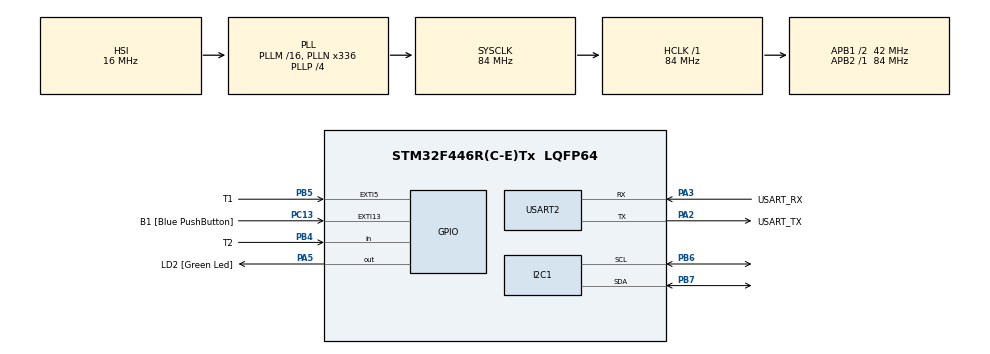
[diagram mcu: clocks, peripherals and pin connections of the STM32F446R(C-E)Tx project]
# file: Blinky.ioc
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Mcu.Family=STM32F4
Mcu.Name=STM32F446R(C-E)Tx
Mcu.Package=LQFP64
NVIC.EXTI9_5_IRQn=true\:0\:0\:false\:false\:true\:true\:true
NVIC.PriorityGroup=NVIC_PRIORITYGROUP_0
PA13.GPIO_Label=TMS
PA13.Mode=Serial_Wire
PA13.Signal=SYS_JTMS-SWDIO
PA14.GPIO_Label=TCK
PA14.Mode=Serial_Wire
PA14.Signal=SYS_JTCK-SWCLK
PA2.GPIO_Label=USART_TX
PA2.Mode=Asynchronous
PA2.Signal=USART2_TX
PA3.GPIO_Label=USART_RX
PA3.Mode=Asynchronous
PA3.Signal=USART2_RX
PA5.GPIO_Label=LD2 [Green Led]
PA5.GPIO_PuPd=GPIO_NOPULL
PA5.Signal=GPIO_Output
PB3.GPIO_Label=SWO
PB3.Signal=SYS_JTDO-SWO
PB4.GPIO_Label=T2
PB4.GPIO_PuPd=GPIO_PULLUP
PB4.Signal=GPIO_Input
PB5.GPIO_Label=T1
PB5.GPIO_ModeDefaultEXTI=GPIO_MODE_IT_FALLING
PB5.GPIO_PuPd=GPIO_PULLUP
PB5.Signal=GPXTI5
PB6.Mode=I2C
PB6.Signal=I2C1_SCL
PB7.Mode=I2C
PB7.Signal=I2C1_SDA
PC13.GPIO_Label=B1 [Blue PushButton]
PC13.GPIO_ModeDefaultEXTI=GPIO_MODE_IT_FALLING
PC13.Signal=GPXTI13
PC14-OSC32_IN.Mode=LSE-External-Oscillator
PC14-OSC32_IN.Signal=RCC_OSC32_IN
PC15-OSC32_OUT.Mode=LSE-External-Oscillator
PC15-OSC32_OUT.Signal=RCC_OSC32_OUT
PH0-OSC_IN.Mode=HSE-External-Oscillator
PH0-OSC_IN.Signal=RCC_OSC_IN
PH1-OSC_OUT.Mode=HSE-External-Oscillator
PH1-OSC_OUT.Signal=RCC_OSC_OUT
ProjectManager.HeapSize=0x200
ProjectManager.StackSize=0x400
ProjectManager.TargetToolchain=STM32CubeIDE
RCC.48MHZClocksFreq_Value=84000000
RCC.AHBFreq_Value=84000000
RCC.APB1CLKDivider=RCC_HCLK_DIV2
RCC.APB1Freq_Value=42000000
RCC.APB1TimFreq_Value=84000000
RCC.APB2Freq_Value=84000000
RCC.APB2TimFreq_Value=84000000
RCC.CortexFreq_Value=84000000
RCC.FLatency-AdvancedSettings=FLASH_LATENCY_2
RCC.HCLKFreq_Value=84000000
RCC.HSE_VALUE=8000000
RCC.HSI_VALUE=16000000
RCC.PLLN=336
RCC.PLLP=RCC_PLLP_DIV4
RCC.SYSCLKFreq_VALUE=84000000
RCC.SYSCLKSource=RCC_SYSCLKSOURCE_PLLCLK
RCC.USBFreq_Value=168000000
RCC.VCOOutputFreq_Value=336000000
USART2.VirtualMode=VM_ASYNC
board=NUCLEO-F446RE

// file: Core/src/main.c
/* USER CODE BEGIN Header */
/**
  ******************************************************************************
  * @file           : main.c
  * @brief          : Main program body
  ******************************************************************************
  * @attention
  *
  * <h2><center>&copy; Copyright (c) 2020 STMicroelectronics.
  * All rights reserved.</center></h2>
  *
  * This software component is licensed by ST under BSD 3-Clause license,
  * the "License"; You may not use this file except in compliance with the
  * License. You may obtain a copy of the License at:
  *                        opensource.org/licenses/BSD-3-Clause
  *
  ******************************************************************************
  */
/* USER CODE END Header */

#include "main.h"

/* USER CODE BEGIN Includes */
#include <string.h>
#include "ssd1306.h"

/* USER CODE END Includes */

I2C_HandleTypeDef hi2c1;

UART_HandleTypeDef huart2;

void SystemClock_Config(void);
static void MX_GPIO_Init(void);
static void MX_USART2_UART_Init(void);
static void MX_I2C1_Init(void);

/* USER CODE BEGIN 0 */

void I2C_Scan() {
    char info[] = "Scanning I2C bus...\r\n";
    HAL_UART_Transmit(&huart2, (uint8_t*)info, strlen(info), HAL_MAX_DELAY);

    HAL_StatusTypeDef res;
    for(uint16_t i = 0; i < 128; i++) {
        res = HAL_I2C_IsDeviceReady(&hi2c1, i << 1, 1, 10);
        if(res == HAL_OK) {
            char msg[64];
            snprintf(msg, sizeof(msg), "0x%02X", i);
            HAL_UART_Transmit(&huart2, (uint8_t*)msg, strlen(msg), HAL_MAX_DELAY);
        } else {
            HAL_UART_Transmit(&huart2, (uint8_t*)".", 1, HAL_MAX_DELAY);
        }
    }

    HAL_UART_Transmit(&huart2, (uint8_t*)"\r\n", 2, HAL_MAX_DELAY);
}

volatile long count = 0;
volatile long last = 0;
volatile long pos = 0;

void int5_handler() {
	long now = HAL_GetTick();
	if (now - last > 2) {
		int r = HAL_GPIO_ReadPin(T2_GPIO_Port,T2_Pin);
		if (r) {
			pos -= 1;
		} else {
			pos += 1;
		}
	} else {
		count++;
	}
	last = now;
}

/* USER CODE END 0 */

int main(void)
{

  /* MCU Configuration--------------------------------------------------------*/

  /* Reset of all peripherals, Initializes the Flash interface and the Systick. */
  HAL_Init();

  /* Configure the system clock */
  SystemClock_Config();

  /* Initialize all configured peripherals */
  MX_GPIO_Init();
  MX_USART2_UART_Init();
  MX_I2C1_Init();
  /* USER CODE BEGIN 2 */
  char* out = "\r\nHello Izzy!\r\n";
  HAL_UART_Transmit(&huart2, (uint8_t *) out, strlen(out), HAL_MAX_DELAY);

  /* USER CODE END 2 */

  /* Infinite loop */
  /* USER CODE BEGIN WHILE */
  //I2C_Scan();
  ssd1306_Init();

  ssd1306_Fill(Black);
  ssd1306_SetCursor(0, 10);
  ssd1306_WriteString("Font 7x10", Font_7x10, White);
  ssd1306_UpdateScreen();

  while (1)
  {
	  HAL_Delay(100);
	  HAL_GPIO_TogglePin(LD2_GPIO_Port,LD2_Pin);

	  // Read pin
	  //int r = HAL_GPIO_ReadPin(Test_Pin_GPIO_Port,Test_Pin_Pin);
	  // Render
	  char temp[64];
	  sprintf(temp,"%ld    \r\n",pos);
	  ssd1306_SetCursor(0, 24);
	  ssd1306_WriteString(temp, Font_7x10, White);
	  ssd1306_UpdateScreen();

    /* USER CODE END WHILE */

  }
}

void SystemClock_Config(void)
{
  RCC_OscInitTypeDef RCC_OscInitStruct = {0};
  RCC_ClkInitTypeDef RCC_ClkInitStruct = {0};

  /** Configure the main internal regulator output voltage
  */
  __HAL_RCC_PWR_CLK_ENABLE();
  __HAL_PWR_VOLTAGESCALING_CONFIG(PWR_REGULATOR_VOLTAGE_SCALE3);
  /** Initializes the CPU, AHB and APB busses clocks
  */
  RCC_OscInitStruct.OscillatorType = RCC_OSCILLATORTYPE_HSI;
  RCC_OscInitStruct.HSIState = RCC_HSI_ON;
  RCC_OscInitStruct.HSICalibrationValue = RCC_HSICALIBRATION_DEFAULT;
  RCC_OscInitStruct.PLL.PLLState = RCC_PLL_ON;
  RCC_OscInitStruct.PLL.PLLSource = RCC_PLLSOURCE_HSI;
  RCC_OscInitStruct.PLL.PLLM = 16;
  RCC_OscInitStruct.PLL.PLLN = 336;
  RCC_OscInitStruct.PLL.PLLP = RCC_PLLP_DIV4;
  RCC_OscInitStruct.PLL.PLLQ = 2;
  RCC_OscInitStruct.PLL.PLLR = 2;
  if (HAL_RCC_OscConfig(&RCC_OscInitStruct) != HAL_OK)
  {
    Error_Handler();
  }
  /** Initializes the CPU, AHB and APB busses clocks
  */
  RCC_ClkInitStruct.ClockType = RCC_CLOCKTYPE_HCLK|RCC_CLOCKTYPE_SYSCLK
                              |RCC_CLOCKTYPE_PCLK1|RCC_CLOCKTYPE_PCLK2;
  RCC_ClkInitStruct.SYSCLKSource = RCC_SYSCLKSOURCE_PLLCLK;
  RCC_ClkInitStruct.AHBCLKDivider = RCC_SYSCLK_DIV1;
  RCC_ClkInitStruct.APB1CLKDivider = RCC_HCLK_DIV2;
  RCC_ClkInitStruct.APB2CLKDivider = RCC_HCLK_DIV1;

  if (HAL_RCC_ClockConfig(&RCC_ClkInitStruct, FLASH_LATENCY_2) != HAL_OK)
  {
    Error_Handler();
  }
}

static void MX_I2C1_Init(void)
{

  hi2c1.Instance = I2C1;
  hi2c1.Init.ClockSpeed = 100000;
  hi2c1.Init.DutyCycle = I2C_DUTYCYCLE_2;
  hi2c1.Init.OwnAddress1 = 0;
  hi2c1.Init.AddressingMode = I2C_ADDRESSINGMODE_7BIT;
  hi2c1.Init.DualAddressMode = I2C_DUALADDRESS_DISABLE;
  hi2c1.Init.OwnAddress2 = 0;
  hi2c1.Init.GeneralCallMode = I2C_GENERALCALL_DISABLE;
  hi2c1.Init.NoStretchMode = I2C_NOSTRETCH_DISABLE;
  if (HAL_I2C_Init(&hi2c1) != HAL_OK)
  {
    Error_Handler();
  }

}

static void MX_USART2_UART_Init(void)
{

  huart2.Instance = USART2;
  huart2.Init.BaudRate = 115200;
  huart2.Init.WordLength = UART_WORDLENGTH_8B;
  huart2.Init.StopBits = UART_STOPBITS_1;
  huart2.Init.Parity = UART_PARITY_NONE;
  huart2.Init.Mode = UART_MODE_TX_RX;
  huart2.Init.HwFlowCtl = UART_HWCONTROL_NONE;
  huart2.Init.OverSampling = UART_OVERSAMPLING_16;
  if (HAL_UART_Init(&huart2) != HAL_OK)
  {
    Error_Handler();
  }

}

static void MX_GPIO_Init(void)
{
  GPIO_InitTypeDef GPIO_InitStruct = {0};

  /* GPIO Ports Clock Enable */
  __HAL_RCC_GPIOC_CLK_ENABLE();
  __HAL_RCC_GPIOH_CLK_ENABLE();
  __HAL_RCC_GPIOA_CLK_ENABLE();
  __HAL_RCC_GPIOB_CLK_ENABLE();

  /*Configure GPIO pin Output Level */
  HAL_GPIO_WritePin(LD2_GPIO_Port, LD2_Pin, GPIO_PIN_RESET);

  /*Configure GPIO pin : B1_Pin */
  GPIO_InitStruct.Pin = B1_Pin;
  GPIO_InitStruct.Mode = GPIO_MODE_IT_FALLING;
  GPIO_InitStruct.Pull = GPIO_NOPULL;
  HAL_GPIO_Init(B1_GPIO_Port, &GPIO_InitStruct);

  /*Configure GPIO pin : LD2_Pin */
  GPIO_InitStruct.Pin = LD2_Pin;
  GPIO_InitStruct.Mode = GPIO_MODE_OUTPUT_PP;
  GPIO_InitStruct.Pull = GPIO_NOPULL;
  GPIO_InitStruct.Speed = GPIO_SPEED_FREQ_LOW;
  HAL_GPIO_Init(LD2_GPIO_Port, &GPIO_InitStruct);

  /*Configure GPIO pin : T2_Pin */
  GPIO_InitStruct.Pin = T2_Pin;
  GPIO_InitStruct.Mode = GPIO_MODE_INPUT;
  GPIO_InitStruct.Pull = GPIO_PULLUP;
  HAL_GPIO_Init(T2_GPIO_Port, &GPIO_InitStruct);

  /*Configure GPIO pin : T1_Pin */
  GPIO_InitStruct.Pin = T1_Pin;
  GPIO_InitStruct.Mode = GPIO_MODE_IT_FALLING;
  GPIO_InitStruct.Pull = GPIO_PULLUP;
  HAL_GPIO_Init(T1_GPIO_Port, &GPIO_InitStruct);

  /* EXTI interrupt init*/
  HAL_NVIC_SetPriority(EXTI9_5_IRQn, 0, 0);
  HAL_NVIC_EnableIRQ(EXTI9_5_IRQn);

}

void Error_Handler(void)
{
}

/************************ (C) COPYRIGHT STMicroelectronics *****END OF FILE****/
